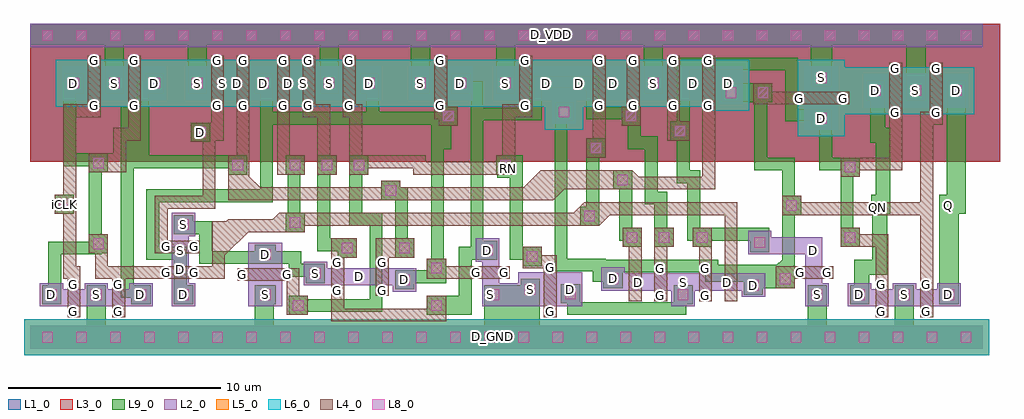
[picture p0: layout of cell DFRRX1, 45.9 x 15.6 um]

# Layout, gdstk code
import gdstk
lib = gdstk.Library(unit=1e-6, precision=1e-09)
def R(c, l, rs):  # rectangles x0, y0, x1, y1
    for r in rs: c.add(gdstk.rectangle(r[:2], r[2:], *l))
def A(c, l, x, y, w, h, nx, ny, dx, dy):  # array of equal rectangles
    R(c, l, [(x+i*dx, y+j*dy, x+i*dx+w, y+j*dy+h) for i in range(nx) for j in range(ny)])
def P(c, l, *ps):  # polygons
    for p in ps: c.add(gdstk.Polygon(p, *l))
L1_0 = (1, 0)
L2_0 = (2, 0)
L3_0 = (3, 0)
L4_0 = (4, 0)
L5_0 = (5, 0)
L6_0 = (6, 0)
L8_0 = (8, 0)
L9_0 = (9, 0)

dfrrx1 = lib.new_cell('DFRRX1')
A(dfrrx1, L1_0, 0, 8.8, 1.6, 6.5, 28, 1, 1.6, 0)
R(dfrrx1, L1_0, [(34.9,8.8,39.5,14.8), (44.8,8.8,45.6,15.3), (37.7,9.85,43.7,14.45), (39.6,9.85,45.6,14.45), (0,10.2,6,14.8), (1.9,10.2,7.9,14.8), (5.8,10.2,11.8,14.8), (7,10.2,13,14.8), (8.9,10.2,14.9,14.8), (10.1,10.2,16.1,14.8), (12,10.2,18,14.8), (16.3,10.2,22.3,14.8), (20.3,10.2,26.3,14.8), (23.75,10.2,29.75,14.8), (25.35,10.2,31.35,14.8), (27.25,10.2,33.25,14.8), (28.9,10.2,34.9,14.8)])
A(dfrrx1, L2_0, 0, 0, 1.6, 1.1, 28, 2, 1.6, 14.2)
R(dfrrx1, L2_0, [(0.45,2,1.55,3.1), (1.55,2,2.55,2.8), (2.55,2,3.65,3.1), (2.55,2,3.65,3.1), (3.65,2,4.65,2.8), (4.65,2,5.75,3.1), (6.65,2,7.75,3.1), (10.25,2,11.85,3.1), (21.25,2,22.35,3.1), (21.25,2,22.05,3.1), (22.35,2,22.95,3.1), (22.95,2,24.05,3.6), (24.05,2,24.85,3.6), (24.85,2,25.95,3.6), (30.15,2,31.25,3.1), (36.45,2,37.55,3.1), (38.45,2,39.55,3.1), (39.55,2,40.55,2.8), (40.55,2,41.65,3.1), (40.55,2,41.65,3.1), (41.65,2,42.65,2.8), (42.65,2,43.75,3.1), (24.85,2.05,25.95,3.15), (33.45,2.45,34.55,3.55), (17.05,2.7,18.15,3.8), (26.85,2.75,27.95,3.85), (27.95,2.75,28.95,3.55), (28.05,2.75,29.15,3.55), (28.95,2.75,30.05,3.55), (29.15,2.75,30.15,3.55), (30.15,2.75,31.25,3.55), (30.15,2.75,31.25,3.55), (31.25,2.75,32.25,3.55), (31.35,2.75,32.45,3.55), (32.25,2.75,33.35,3.55), (32.45,2.75,33.45,3.55), (12.85,3,13.95,4.1), (13.95,3,14.95,3.8), (14.95,3,16.05,3.8), (14.95,3,16.05,3.8), (16.05,3,17.05,3.8), (6.65,3.1,7.45,4.1), (10.25,3.1,11.85,3.9), (21.25,3.1,22.05,4.1), (36.45,3.1,37.25,4.1), (6.65,3.2,7.45,4.3), (10.25,3.9,11.85,5), (6.65,4.1,7.45,5.2), (20.95,4.1,22.05,5.2), (36.45,4.1,37.25,5.2), (6.65,4.3,7.45,5.3), (33.75,4.45,34.85,5.55), (34.85,4.45,37.25,5.25), (6.65,5.3,7.75,6.4), (36.4,10.3,38,11.4), (24.55,10.6,25.65,11.7), (39.2,11.35,40.3,12.95), (40.3,11.35,41.1,12.95), (41.1,11.35,42.2,12.95), (41.1,11.35,42.2,12.95), (42.2,11.35,43,12.95), (43,11.35,44.1,12.95), (36.4,11.4,38,12.2), (32.4,11.5,33.5,12.6), (1.5,11.7,2.6,13.3), (2.6,11.7,3.4,13.3), (3.4,11.7,4.5,13.3), (3.4,11.7,4.5,13.3), (4.5,11.7,5.3,13.3), (5.3,11.7,6.4,13.3), (7.3,11.7,8.4,13.3), (8.4,11.7,9.2,13.3), (8.5,11.7,9.6,13.3), (9.2,11.7,10.3,13.3), (9.6,11.7,10.4,13.3), (10.4,11.7,11.5,13.3), (10.4,11.7,11.5,13.3), (11.5,11.7,12.3,13.3), (11.6,11.7,12.7,13.3), (12.3,11.7,13.4,13.3), (12.7,11.7,13.5,13.3), (13.5,11.7,14.6,13.3), (13.5,11.7,14.6,13.3), (14.6,11.7,15.4,13.3), (15.4,11.7,16.5,13.3), (17.8,11.7,18.9,13.3), (18.9,11.7,19.7,13.3), (19.7,11.7,20.8,13.3), (21.8,11.7,22.9,13.3), (22.9,11.7,23.7,13.3), (23.7,11.7,24.8,13.3), (24.8,11.7,25.4,13.3), (25.25,11.7,26.35,13.3), (26.35,11.7,27.15,13.3), (26.85,11.7,27.95,13.3), (27.15,11.7,28.25,13.3), (27.95,11.7,28.75,13.3), (28.75,11.7,29.85,13.3), (28.75,11.7,29.85,13.3), (29.85,11.7,30.65,13.3), (30.4,11.7,31.5,13.3), (30.65,11.7,31.75,13.3), (31.5,11.7,32.3,13.3), (32.3,11.7,33.4,13.3), (36.4,12.2,38,13.3), (33.4,12.6,33.5,13.3)])
A(dfrrx1, L3_0, 0, 8.8, 1.6, 6.5, 28, 1, 1.6, 0)
R(dfrrx1, L3_0, [(34.9,8.8,39.5,14.8), (44.8,8.8,45.6,15.3), (37.7,9.85,43.7,14.45), (39.6,9.85,45.6,14.45), (0,10.2,6,14.8), (1.9,10.2,7.9,14.8), (5.8,10.2,11.8,14.8), (7,10.2,13,14.8), (8.9,10.2,14.9,14.8), (10.1,10.2,16.1,14.8), (12,10.2,18,14.8), (16.3,10.2,22.3,14.8), (20.3,10.2,26.3,14.8), (23.75,10.2,29.75,14.8), (25.35,10.2,31.35,14.8), (27.25,10.2,33.25,14.8), (28.9,10.2,34.9,14.8)])
A(dfrrx1, L4_0, 12, 8.2, 0.9, 0.9, 3, 1, 1.5, 0)
R(dfrrx1, L4_0, [(18.65,1.3,19.55,1.65), (1.75,1.5,2.35,3.3), (1.75,1.5,2.35,2), (3.85,1.5,4.45,3.3), (3.85,1.5,4.45,2), (24.15,1.5,24.75,2), (24.15,1.5,24.75,4.1), (39.75,1.5,40.35,3.3), (39.75,1.5,40.35,2), (41.85,1.5,42.45,3.3), (41.85,1.5,42.45,2), (12.05,1.6,12.65,3.8), (12.15,1.6,13.05,2.5), (18.65,1.6,19.55,2.5), (28.15,2.25,28.75,4.05), (28.15,2.25,28.75,2.75), (29.35,2.25,29.95,4.05), (29.35,2.25,29.95,2.75), (31.45,2.25,32.05,4.05), (31.45,2.25,32.05,2.75), (32.65,2.25,33.25,4.05), (32.65,2.25,33.25,2.75), (14.15,2.5,14.75,4.3), (14.15,2.5,14.75,3), (16.25,2.5,16.85,4.3), (16.25,2.5,16.85,3), (1.75,2.8,2.35,3.3), (3.85,2.8,4.45,3.3), (39.75,2.8,40.35,3.3), (41.85,2.8,42.45,3.3), (35.05,2.85,35.95,3.75), (9.75,3.2,10.25,3.8), (9.75,3.2,12.35,3.8), (11.85,3.2,12.35,3.8), (6.15,3.3,7.95,3.9), (6.15,3.3,6.65,3.9), (7.45,3.3,7.95,3.9), (18.65,3.3,21.05,3.9), (20.75,3.3,22.55,3.9), (20.75,3.3,21.25,3.9), (22.05,3.3,22.55,3.9), (35.95,3.3,37.75,3.9), (35.95,3.3,36.45,3.9), (37.25,3.3,37.75,3.9), (18.65,3.35,19.55,4.25), (28.15,3.55,28.75,4.05), (29.35,3.55,29.95,4.05), (31.45,3.55,32.05,4.05), (32.65,3.55,33.25,4.05), (24.15,3.6,24.75,4.1), (35.05,3.75,35.95,3.9), (14.15,3.8,14.75,4.3), (16.25,3.8,16.85,4.3), (23.15,3.8,24.75,4.4), (23.15,3.9,24.05,4.8), (28.15,4.05,28.75,4.8), (29.35,4.05,29.95,4.8), (31.45,4.05,32.05,4.8), (14.15,4.2,14.75,5.2), (14.45,4.3,15.35,5.2), (17.15,4.3,18.05,5.2), (2.75,4.5,3.65,5.4), (6.15,4.5,7.95,5.1), (6.15,4.5,6.65,5.1), (7.45,4.5,7.95,5.1), (27.85,4.8,28.75,5.7), (29.35,4.8,30.25,5.7), (31.15,4.8,32.05,5.7), (38.1,4.8,39,5.7), (12,5.5,12.9,6.4), (11.7,5.8,16,6.4), (16,5.8,25.75,6.4), (25.85,5.8,26.75,6.7), (35.35,6.3,36.25,7.2), (35.95,6.3,41.85,6.9), (1.15,6.35,2.05,7.25), (12.7,7,24.6,7.6), (16.5,7,17.4,7.9), (24,7,24.6,8.4), (24.6,7.5,27.4,8.4), (27.4,7.5,28.3,8.4), (9.3,7.7,10.3,8.2), (38.1,8.1,39,9), (9.3,8.2,10.2,9.1), (9.7,8.2,10.3,10.1), (11.6,8.2,12.2,9.6), (21.9,8.2,22.8,9.1), (2.75,8.3,3.65,9.2), (13.5,8.8,14.1,9.8), (15,8.9,15.6,10.45), (26.15,9,27.05,9.9), (11.6,9.3,12.2,11.2), (9.7,9.55,10.3,11.65), (7.55,9.75,8.45,10.65), (4.6,9.8,5.2,11.25), (8.5,9.8,9.1,11.5), (29.95,9.8,30.55,11.2), (30.1,9.8,31,10.7), (31.6,9.8,32.2,11.5), (26.45,9.9,27.05,11.2), (8.45,10.4,8.5,10.65), (19.2,10.5,20.1,11.4), (27.8,10.5,28.7,11.4), (19,10.8,20.1,11.4), (40.4,10.85,41,11.35), (40.4,10.85,41,13.45), (42.3,10.85,42.9,11.35), (42.3,10.85,42.9,13.45), (2.7,11.2,3.3,11.7), (2.7,11.2,3.3,13.8), (4.6,11.2,5.2,11.7), (4.6,11.2,5.2,13.8), (8.5,11.2,9.1,11.7), (8.5,11.2,9.1,13.8), (9.7,11.2,10.3,11.7), (9.7,11.2,10.3,13.8), (11.6,11.2,12.2,11.7), (11.6,11.2,12.2,13.8), (12.8,11.2,13.4,11.7), (12.8,11.2,13.4,13.8), (14.7,11.2,15.3,11.7), (14.7,11.2,15.3,13.8), (19,11.2,19.6,11.7), (19,11.2,19.6,13.8), (23,11.2,23.6,11.7), (23,11.2,23.6,13.8), (26.45,11.2,27.05,11.7), (26.45,11.2,27.05,13.8), (28.05,11.2,28.65,11.7), (28.05,11.2,28.65,13.8), (29.95,11.2,30.55,11.7), (29.95,11.2,30.55,13.8), (31.6,11.2,32.2,11.7), (31.6,11.2,32.2,13.8), (34,11.5,35.9,12.1), (35.9,11.5,36.4,12.1), (35.9,11.5,38.5,12.1), (38,11.5,38.5,12.1), (34,11.6,34.9,12.5), (40.4,12.95,41,13.45), (42.3,12.95,42.9,13.45), (2.7,13.3,3.3,13.8), (4.6,13.3,5.2,13.8), (8.5,13.3,9.1,13.8), (9.7,13.3,10.3,13.8), (11.6,13.3,12.2,13.8), (12.8,13.3,13.4,13.8), (14.7,13.3,15.3,13.8), (19,13.3,19.6,13.8), (23,13.3,23.6,13.8), (26.45,13.3,27.05,13.8), (28.05,13.3,28.65,13.8), (29.95,13.3,30.55,13.8), (31.6,13.3,32.2,13.8)])
P(dfrrx1, L4_0, [(24.6,7),(25.1,7.5),(24.6,7.5)],
  [(25.15,5.8),(26.65,5.8),(26.65,6.9),(26.05,6.9),(26.05,6.4),(25.15,6.4)],
  [(26.05,6.9),(25.55,6.4),(26.05,6.4)],
  [(15.9,8.5),(18,8.5),(18,8.2),(22.8,8.2),(22.8,10.9),(23.6,10.9),(23.6,11.5),(22.2,11.5),(22.2,8.8),(18.6,8.8),(18.6,9.1),(15.9,9.1)],
  [(9.3,6.1),(9.2,6),(9.3,6)],
  [(24,8.4),(23.2,7.6),(24,7.6)],
  [(1.55,3.3),(2.35,3.3),(2.35,3.9),(2.15,3.9),(2.15,10.9),(3.3,10.9),(3.3,11.5),(1.55,11.5)],
  [(12.8,10.9),(13.5,10.9),(13.5,9.4),(14.1,9.4),(14.1,11.5),(12.8,11.5)],
  [(10.25,5.5),(9.15,5.5),(9.15,4.4)],
  [(28.3,7.5),(32.2,7.5),(32.2,10.1),(31.6,10.1),(31.6,8.1),(28.3,8.1)],
  [(26.65,6.3),(32.65,6.3),(32.65,4.05),(33.25,4.05),(33.25,6.9),(26.65,6.9)],
  [(5.85,4.5),(6.45,4.5),(6.45,6.6),(8.7,6.6),(8.7,9.8),(9.1,9.8),(9.1,10.4),(8.1,10.4),(8.1,7.2),(5.85,7.2)],
  [(41.85,3.3),(42.45,3.3),(42.45,10.55),(42.9,10.55),(42.9,11.15),(41.85,11.15)],
  [(39,8.4),(41,8.4),(41,10.85),(40.4,10.85),(40.4,9),(39,9)],
  [(38.1,4.8),(39.75,4.8),(39.75,2.9),(40.35,2.9),(40.35,5.4),(38.1,5.4)],
  [(10.8,7.6),(10.3,8.1),(10.3,7.6)],
  [(3.65,8.3),(4.5,8.3),(4.5,9.8),(5.2,9.8),(5.2,10.4),(3.9,10.4),(3.9,9.2),(3.65,9.2)],
  [(3.05,3.3),(6.15,3.3),(6.15,3.9),(3.65,3.9),(3.65,4.5),(3.05,4.5)],
  [(7.95,3.3),(9.15,3.3),(9.15,5.4),(8.55,5.4),(8.55,3.9),(7.95,3.9)],
  [(8.55,4.7),(9.4,4.7),(9.4,5.4),(9.9,5.4),(9.9,5.5),(12,5.5),(12,6.1),(9.3,6.1),(9.3,6),(8.55,6)],
  [(28.3,8.1),(28.6,8.1),(28.3,8.4)],
  [(26.75,5.8),(27.25,6.3),(26.75,6.3)],
  [(9.3,7),(12.7,7),(12.7,7.6),(10.3,7.6),(10.3,7.8),(9.3,7.8)],
  [(16.25,4),(16.85,4),(16.85,4.3),(17.15,4.3),(17.15,5.2),(16.25,5.2)],
  [(14.15,1.3),(18.65,1.3),(18.65,1.9),(14.75,1.9),(14.75,2.5),(14.15,2.5)],
  [(11.7,6.4),(11.4,6.1),(11.7,6.1)],
  [(14.7,10.9),(15,10.9),(15,10.2),(15.6,10.2),(15.6,11.5),(14.7,11.5)])
A(dfrrx1, L5_0, 1.6, -0.3, 1.6, 1.7, 26, 1, 1.6, 0)
R(dfrrx1, L5_0, [(-0.3,-0.3,1.6,1.4), (43.2,-0.3,45.1,1.4), (36.1,10,38.3,13.6), (24.2,10.3,26,11.4), (38.3,11.05,38.9,13.25), (38.9,11.05,42.5,13.25), (40.8,11.05,44.4,13.25), (32,11.2,33.8,13.6), (1.2,11.4,4.8,13.6), (3.1,11.4,6.7,13.6), (6.7,11.4,7,13.6), (7,11.4,10.6,13.6), (8.2,11.4,11.8,13.6), (10.1,11.4,13.7,13.6), (11.3,11.4,14.9,13.6), (13.2,11.4,16.8,13.6), (16.8,11.4,17.5,13.6), (17.5,11.4,21.1,13.6), (21.05,11.4,21.75,13.6), (21.5,11.4,25.1,13.6), (24.95,11.4,28.55,13.6), (26.55,11.4,30.15,13.6), (28.45,11.4,32.05,13.6), (30.1,11.4,33.7,13.6)])
A(dfrrx1, L6_0, 1.6, -0.3, 1.6, 1.7, 26, 1, 1.6, 0)
R(dfrrx1, L6_0, [(-0.3,-0.3,1.6,1.4), (43.2,-0.3,45.1,1.4), (36.1,10,38.3,13.6), (24.2,10.3,26,11.4), (38.3,11.05,38.9,13.25), (38.9,11.05,42.5,13.25), (40.8,11.05,44.4,13.25), (32,11.2,33.8,13.6), (1.2,11.4,4.8,13.6), (3.1,11.4,6.7,13.6), (6.7,11.4,7,13.6), (7,11.4,10.6,13.6), (8.2,11.4,11.8,13.6), (10.1,11.4,13.7,13.6), (11.3,11.4,14.9,13.6), (13.2,11.4,16.8,13.6), (16.8,11.4,17.5,13.6), (17.5,11.4,21.1,13.6), (21.05,11.4,21.75,13.6), (21.5,11.4,25.1,13.6), (24.95,11.4,28.55,13.6), (26.55,11.4,30.15,13.6), (28.45,11.4,32.05,13.6), (30.1,11.4,33.7,13.6)])
A(dfrrx1, L8_0, 0.55, 0.3, 0.5, 0.5, 28, 2, 1.6, 14.2)
A(dfrrx1, L8_0, 12.2, 8.4, 0.5, 0.5, 3, 1, 1.5, 0)
R(dfrrx1, L8_0, [(12.35,1.8,12.85,2.3), (18.85,1.8,19.35,2.3), (0.75,2.3,1.25,2.8), (2.85,2.3,3.35,2.8), (2.85,2.3,3.35,2.8), (4.95,2.3,5.45,2.8), (6.95,2.3,7.45,2.8), (10.8,2.3,11.3,2.8), (21.55,2.3,22.05,2.8), (30.45,2.3,30.95,2.8), (36.75,2.3,37.25,2.8), (38.75,2.3,39.25,2.8), (40.85,2.3,41.35,2.8), (40.85,2.3,41.35,2.8), (42.95,2.3,43.45,2.8), (25.15,2.35,25.65,2.85), (23.25,2.55,23.75,3.05), (33.75,2.75,34.25,3.25), (17.35,3,17.85,3.5), (27.15,3.05,27.65,3.55), (35.25,3.05,35.75,3.55), (13.15,3.3,13.65,3.8), (18.85,3.55,19.35,4.05), (23.35,4.1,23.85,4.6), (10.8,4.2,11.3,4.7), (21.25,4.4,21.75,4.9), (14.65,4.5,15.15,5), (17.35,4.5,17.85,5), (2.95,4.7,3.45,5.2), (34.05,4.75,34.55,5.25), (28.05,5,28.55,5.5), (29.55,5,30.05,5.5), (31.35,5,31.85,5.5), (38.3,5,38.8,5.5), (6.95,5.6,7.45,6.1), (12.2,5.7,12.7,6.2), (26.05,6,26.55,6.5), (35.55,6.5,36.05,7), (1.35,6.55,1.85,7.05), (16.7,7.2,17.2,7.7), (27.6,7.7,28.1,8.2), (38.3,8.3,38.8,8.8), (9.5,8.4,10,8.9), (22.1,8.4,22.6,8.9), (2.95,8.5,3.45,9), (26.35,9.2,26.85,9.7), (7.75,9.95,8.25,10.45), (30.3,10,30.8,10.5), (36.95,10.6,37.45,11.1), (19.4,10.7,19.9,11.2), (28,10.7,28.5,11.2), (24.85,10.9,25.35,11.4), (32.7,11.8,33.2,12.3), (34.2,11.8,34.7,12.3), (39.5,11.9,40,12.4), (41.4,11.9,41.9,12.4), (41.4,11.9,41.9,12.4), (43.3,11.9,43.8,12.4), (1.8,12.25,2.3,12.75), (3.7,12.25,4.2,12.75), (3.7,12.25,4.2,12.75), (5.6,12.25,6.1,12.75), (7.6,12.25,8.1,12.75), (10.7,12.25,11.2,12.75), (10.7,12.25,11.2,12.75), (13.8,12.25,14.3,12.75), (13.8,12.25,14.3,12.75), (15.7,12.25,16.2,12.75), (18.1,12.25,18.6,12.75), (20,12.25,20.5,12.75), (22.1,12.25,22.6,12.75), (29.05,12.25,29.55,12.75), (29.05,12.25,29.55,12.75), (36.95,12.5,37.45,13)])
A(dfrrx1, L9_0, 0, 0, 1.6, 1, 28, 2, 1.6, 14.3)
A(dfrrx1, L9_0, 12, 8.2, 0.9, 0.9, 3, 1, 1.5, 0)
R(dfrrx1, L9_0, [(0,0,44.8,1), (2.65,0.95,3.55,2.1), (40.65,0.95,41.55,2.1), (21.35,1,23.95,3), (36.55,1,37.45,2.1), (12.15,1.6,13.05,2.5), (18.65,1.6,19.55,2.5), (19.55,1.6,20.15,2.5), (0.55,2.1,1.45,3), (2.65,2.1,3.55,3), (2.65,2.1,3.55,3), (4.75,2.1,5.65,3), (6.75,2.1,7.65,3), (10.55,2.1,11.55,3), (21.35,2.1,22.25,3), (30.25,2.1,31.15,3), (36.55,2.1,37.45,3), (38.55,2.1,39.45,3), (40.65,2.1,41.55,3), (40.65,2.1,41.55,3), (42.75,2.1,43.65,3), (24.95,2.15,25.85,3.05), (23.05,2.3,23.95,3.3), (33.55,2.55,34.45,3.45), (17.15,2.8,18.05,3.7), (26.95,2.85,27.85,3.75), (34.45,2.85,35.05,3.15), (35.05,2.85,35.95,3.75), (12.95,3.1,13.85,4), (18.05,3.1,19.55,3.7), (33.85,3.15,35.65,3.75), (18.65,3.35,19.55,4.25), (27.05,3.75,27.25,4.2), (23.15,3.9,24.05,4.8), (10.55,4,11.55,4.9), (21.05,4.2,21.95,5.1), (14.45,4.3,15.35,5.2), (17.15,4.3,18.05,5.2), (2.75,4.5,3.65,5.4), (33.85,4.55,34.75,5.45), (2.75,4.8,3.35,8.9), (27.85,4.8,28.75,5.7), (29.35,4.8,30.25,5.7), (31.15,4.8,32.05,5.7), (38.1,4.8,39,5.7), (30.9,5.1,34.75,5.7), (38.1,5.1,38.7,8.7), (6.75,5.4,7.65,6.3), (12,5.5,12.9,6.4), (12.1,5.7,12.7,9.1), (25.85,5.8,26.75,6.7), (26.15,6.1,26.75,9.6), (35.35,6.3,36.25,7.2), (1.15,6.35,2.05,7.25), (1.15,6.35,2.05,7.25), (39.55,6.35,40.45,7.25), (42.75,6.35,43.65,7.25), (16.5,7,17.4,7.9), (27.4,7.5,28.3,8.4), (21.95,8.05,22.85,8.95), (38.1,8.1,39,9), (9.3,8.2,10.2,9.1), (21.9,8.2,22.8,9.1), (2.75,8.3,3.65,9.2), (4.25,8.5,9.9,9.1), (22.8,8.8,23.15,9.1), (26.15,9,27.05,9.9), (4.85,9.1,5.6,10.2), (7.55,9.75,8.45,10.65), (7.55,9.75,8.45,10.65), (30.1,9.8,31,10.7), (18.85,10,19.8,10.55), (36.7,10.4,37.7,11.3), (19.2,10.5,20.1,11.4), (27.8,10.5,28.7,11.4), (10.8,10.55,16.4,11.15), (15.8,10.55,16.4,12.6), (24.65,10.7,25.55,11.6), (35.5,10.7,36.7,11.3), (32.5,11.6,33.4,12.5), (33.4,11.6,34,12.5), (34,11.6,34.9,12.5), (39.3,11.65,40.2,12.65), (41.2,11.65,42.1,12.65), (41.2,11.65,42.1,12.65), (43.1,11.65,44,12.65), (1.6,12,2.5,13), (3.5,12,4.4,13), (3.5,12,4.4,13), (5.4,12,6.3,13), (7.4,12,8.3,13), (10.5,12,11.4,13), (10.5,12,11.4,13), (13.6,12,14.5,13), (13.6,12,14.5,13), (15.5,12,16.4,13), (17.9,12,18.8,13), (19.8,12,20.7,13), (21.9,12,22.8,13), (28.85,12,29.75,13), (28.85,12,29.75,13), (28.85,12.1,29.75,15.2), (36.7,12.3,37.7,13.2), (41.2,12.65,42.1,14.3), (3.5,13,4.4,14.35), (7.4,13,8.3,14.6), (13.6,13,14.5,14.65), (17.9,13,18.8,14.65), (36.7,13.2,37.7,14.3), (0,14.3,44.8,15.3)])
P(dfrrx1, L9_0, [(27.25,3.15),(27.85,3.15),(27.85,3.6),(31.75,3.6),(31.75,3.15),(34.15,3.15),(34.15,3.75),(32.35,3.75),(32.35,4.2),(27.25,4.2)],
  [(12.45,1.75),(16.55,1.75),(16.55,6.4),(15.6,6.4),(15.6,8.8),(15,8.8),(15,5.8),(15.95,5.8),(15.95,2.35),(12.45,2.35)],
  [(18.85,3.65),(19.45,3.65),(19.45,9.4),(19.8,9.4),(19.8,10),(18.85,10)],
  [(28.1,9.4),(28.9,9.4),(28.9,6.8),(29.35,6.8),(29.35,5.1),(29.95,5.1),(29.95,7.4),(29.5,7.4),(29.5,10),(28.7,10),(28.7,11.1),(28.1,11.1)],
  [(20.1,12),(20.7,12),(20.7,4.8),(21.3,4.8),(21.3,12.6),(20.1,12.6)],
  [(20.7,10.75),(24.05,10.75),(24.05,12.25),(26.1,12.25),(26.1,12.15),(26.15,12.15),(26.15,10.8),(28.4,10.8),(28.4,11.4),(26.75,11.4),(26.75,12.75),(26.7,12.75),(26.7,12.85),(23.45,12.85),(23.45,11.35),(20.7,11.35)],
  [(27.7,5.1),(28.45,5.1),(28.45,5.7),(28.3,5.7),(28.3,8.1),(27.7,8.1)],
  [(31.9,13.1),(35.5,13.1),(35.5,11.1),(36.1,11.1),(36.1,13.7),(31.9,13.7)],
  [(30.4,7.8),(30.9,7.8),(30.9,5.1),(31.75,5.1),(31.75,5.7),(31.5,5.7),(31.5,8.4),(31,8.4),(31,10.4),(30.4,10.4)],
  [(35.35,3.75),(35.35,4.2),(35.1,3.95),(32.35,3.95),(32.35,3.75)],
  [(42.75,2.1),(43.65,2.1),(43.65,6.35),(44,6.35),(44,12.55),(43.1,12.55),(43.1,7.25),(42.75,7.25)],
  [(30.4,10.7),(31,10.7),(31,13.1),(31.9,13.1),(31.9,13.7),(30.4,13.7)],
  [(34.05,8.4),(35.35,8.4),(35.35,3.75),(35.95,3.75),(35.95,9),(34.65,9),(34.65,12.2),(34.05,12.2)],
  [(10.1,0.1),(11.45,0.1),(11.45,3),(10.55,3),(10.55,1),(10.1,1)],
  [(25.25,1.6),(30.85,1.6),(30.85,2.85),(30.25,2.85),(30.25,2.2),(25.85,2.2),(25.85,2.9),(25.25,2.9)],
  [(7.05,5.4),(7.95,5.4),(7.95,4),(12.15,4),(12.15,3.4),(13.55,3.4),(13.55,4),(12.75,4),(12.75,4.6),(8.55,4.6),(8.55,6),(7.05,6)],
  [(5,10.8),(5.6,10.8),(5.6,12),(6,12),(6,12.6),(5,12.6)],
  [(4.25,10.2),(5.6,10.2),(5.6,11.4),(5,11.4),(5,10.8),(4.25,10.8)],
  [(4.25,2.4),(5.35,2.4),(5.35,3),(4.85,3),(4.85,10.8),(5.6,10.8),(5.6,11.4),(4.25,11.4)],
  [(38.75,2.3),(39.45,2.3),(39.45,3.5),(40.3,3.5),(40.3,7.05),(39.6,7.05),(39.6,4.2),(38.75,4.2)],
  [(0.85,2.4),(1.45,2.4),(1.45,4.45),(3.35,4.45),(3.35,5.1),(2.75,5.1),(2.75,5.05),(0.85,5.05)],
  [(24.65,3.65),(26.45,3.65),(26.45,3.15),(27.55,3.15),(27.55,3.75),(27.05,3.75),(27.05,4.25),(25.25,4.25),(25.25,11.3),(24.65,11.3)],
  [(13.5,4.6),(15.05,4.6),(15.05,5.2),(14.1,5.2),(14.1,8.8),(13.5,8.8)],
  [(21.9,12.1),(22.8,12.1),(22.8,14.3),(23.3,14.3),(23.3,15.2),(21.9,15.2)],
  [(1.55,8.6),(3.35,8.6),(3.35,9.2),(2.15,9.2),(2.15,12),(2.2,12),(2.2,12.6),(1.55,12.6)],
  [(16.8,7),(17.15,7),(17.15,4.6),(17.75,4.6),(17.75,7.6),(16.8,7.6)],
  [(39.5,9.7),(39.75,9.7),(39.75,6.55),(40.45,6.55),(40.45,10.4),(40.2,10.4),(40.2,12.35),(39.5,12.35)],
  [(20.15,1.6),(20.75,1.6),(20.75,4.2),(21.05,4.2),(21.05,4.8),(20.15,4.8)],
  [(15.8,10.55),(19.15,10.55),(19.15,10.5),(19.75,10.5),(19.75,11.15),(15.8,11.15)],
  [(22.2,8.2),(22.55,8.2),(22.55,4.2),(23.75,4.2),(23.75,4.8),(23.15,4.8),(23.15,8.8),(22.2,8.8)],
  [(5.45,4.2),(6.75,4.2),(6.75,2.4),(7.35,2.4),(7.35,4.8),(6.05,4.8),(6.05,6.9),(11.4,6.9),(11.4,12.6),(10.8,12.6),(10.8,7.5),(5.45,7.5)],
  [(37.1,8.4),(38.7,8.4),(38.7,9),(37.7,9),(37.7,11),(37.1,11)])
dfrrx1.add(gdstk.Label('D', (36.851,4.649), layer=2, texttype=0))
dfrrx1.add(gdstk.Label('G', (36.202,3.6), layer=4, texttype=0))
dfrrx1.add(gdstk.Label('G', (37.502,3.6), layer=4, texttype=0))
dfrrx1.add(gdstk.Label('S', (37.001,2.549), layer=9, texttype=0))
dfrrx1.add(gdstk.Label('D', (32.799,3.149), layer=2, texttype=0))
dfrrx1.add(gdstk.Label('G', (31.75,3.798), layer=4, texttype=0))
dfrrx1.add(gdstk.Label('G', (31.75,2.498), layer=4, texttype=0))
dfrrx1.add(gdstk.Label('S', (30.699,3.149), layer=2, texttype=0))
dfrrx1.add(gdstk.Label('D', (5.849,12.501), layer=9, texttype=0))
dfrrx1.add(gdstk.Label('S', (3.949,12.501), layer=9, texttype=0))
dfrrx1.add(gdstk.Label('G', (4.9,13.552), layer=4, texttype=0))
dfrrx1.add(gdstk.Label('G', (4.9,11.452), layer=4, texttype=0))
dfrrx1.add(gdstk.Label('D', (20.249,12.501), layer=9, texttype=0))
dfrrx1.add(gdstk.Label('S', (18.349,12.501), layer=9, texttype=0))
dfrrx1.add(gdstk.Label('G', (19.3,13.552), layer=4, texttype=0))
dfrrx1.add(gdstk.Label('G', (19.3,11.452), layer=4, texttype=0))
dfrrx1.add(gdstk.Label('D', (27.401,12.501), layer=2, texttype=0))
dfrrx1.add(gdstk.Label('S', (29.301,12.501), layer=9, texttype=0))
dfrrx1.add(gdstk.Label('G', (28.35,13.552), layer=4, texttype=0))
dfrrx1.add(gdstk.Label('G', (28.35,11.452), layer=4, texttype=0))
dfrrx1.add(gdstk.Label('D', (9.749,12.501), layer=2, texttype=0))
dfrrx1.add(gdstk.Label('S', (7.849,12.501), layer=9, texttype=0))
dfrrx1.add(gdstk.Label('G', (8.8,13.552), layer=4, texttype=0))
dfrrx1.add(gdstk.Label('G', (8.8,11.452), layer=4, texttype=0))
dfrrx1.add(gdstk.Label('D', (2.051,12.501), layer=9, texttype=0))
dfrrx1.add(gdstk.Label('S', (3.951,12.501), layer=9, texttype=0))
dfrrx1.add(gdstk.Label('G', (3,13.552), layer=4, texttype=0))
dfrrx1.add(gdstk.Label('G', (3,11.452), layer=4, texttype=0))
dfrrx1.add(gdstk.Label('D', (24.249,12.501), layer=2, texttype=0))
dfrrx1.add(gdstk.Label('S', (22.349,12.501), layer=9, texttype=0))
dfrrx1.add(gdstk.Label('G', (23.3,13.552), layer=4, texttype=0))
dfrrx1.add(gdstk.Label('G', (23.3,11.452), layer=4, texttype=0))
dfrrx1.add(gdstk.Label('D', (12.151,12.501), layer=2, texttype=0))
dfrrx1.add(gdstk.Label('S', (14.051,12.501), layer=9, texttype=0))
dfrrx1.add(gdstk.Label('G', (13.1,13.552), layer=4, texttype=0))
dfrrx1.add(gdstk.Label('G', (13.1,11.452), layer=4, texttype=0))
dfrrx1.add(gdstk.Label('D', (10.951,12.501), layer=9, texttype=0))
dfrrx1.add(gdstk.Label('S', (12.851,12.501), layer=2, texttype=0))
dfrrx1.add(gdstk.Label('G', (11.9,13.552), layer=4, texttype=0))
dfrrx1.add(gdstk.Label('G', (11.9,11.452), layer=4, texttype=0))
dfrrx1.add(gdstk.Label('D', (15.949,12.501), layer=9, texttype=0))
dfrrx1.add(gdstk.Label('S', (14.049,12.501), layer=9, texttype=0))
dfrrx1.add(gdstk.Label('G', (15,13.552), layer=4, texttype=0))
dfrrx1.add(gdstk.Label('G', (15,11.452), layer=4, texttype=0))
dfrrx1.add(gdstk.Label('D', (25.801,12.501), layer=2, texttype=0))
dfrrx1.add(gdstk.Label('S', (27.701,12.501), layer=2, texttype=0))
dfrrx1.add(gdstk.Label('G', (26.75,13.552), layer=4, texttype=0))
dfrrx1.add(gdstk.Label('G', (26.75,11.452), layer=4, texttype=0))
dfrrx1.add(gdstk.Label('D', (37.199,10.851), layer=9, texttype=0))
dfrrx1.add(gdstk.Label('S', (37.199,12.751), layer=9, texttype=0))
dfrrx1.add(gdstk.Label('G', (36.148,11.8), layer=4, texttype=0))
dfrrx1.add(gdstk.Label('G', (38.248,11.8), layer=4, texttype=0))
dfrrx1.add(gdstk.Label('D', (31.199,12.501), layer=2, texttype=0))
dfrrx1.add(gdstk.Label('S', (29.299,12.501), layer=9, texttype=0))
dfrrx1.add(gdstk.Label('G', (30.25,13.552), layer=4, texttype=0))
dfrrx1.add(gdstk.Label('G', (30.25,11.452), layer=4, texttype=0))
dfrrx1.add(gdstk.Label('D', (32.849,12.501), layer=2, texttype=0))
dfrrx1.add(gdstk.Label('S', (30.949,12.501), layer=2, texttype=0))
dfrrx1.add(gdstk.Label('G', (31.9,13.552), layer=4, texttype=0))
dfrrx1.add(gdstk.Label('G', (31.9,11.452), layer=4, texttype=0))
dfrrx1.add(gdstk.Label('D', (25.399,2.801), layer=2, texttype=0))
dfrrx1.add(gdstk.Label('G', (24.45,1.752), layer=4, texttype=0))
dfrrx1.add(gdstk.Label('G', (24.45,3.852), layer=4, texttype=0))
dfrrx1.add(gdstk.Label('S', (23.499,2.801), layer=9, texttype=0))
dfrrx1.add(gdstk.Label('D', (15.499,3.401), layer=2, texttype=0))
dfrrx1.add(gdstk.Label('G', (14.45,2.752), layer=4, texttype=0))
dfrrx1.add(gdstk.Label('G', (14.45,4.052), layer=4, texttype=0))
dfrrx1.add(gdstk.Label('S', (13.399,3.551), layer=9, texttype=0))
dfrrx1.add(gdstk.Label('D', (28.601,3.149), layer=2, texttype=0))
dfrrx1.add(gdstk.Label('G', (29.65,3.798), layer=4, texttype=0))
dfrrx1.add(gdstk.Label('G', (29.65,2.498), layer=4, texttype=0))
dfrrx1.add(gdstk.Label('S', (30.701,3.149), layer=2, texttype=0))
dfrrx1.add(gdstk.Label('G', (42.6,11.102), layer=4, texttype=0))
dfrrx1.add(gdstk.Label('G', (42.6,13.202), layer=4, texttype=0))
dfrrx1.add(gdstk.Label('S', (41.649,12.151), layer=9, texttype=0))
dfrrx1.add(gdstk.Label('D', (43.549,12.151), layer=9, texttype=0))
dfrrx1.add(gdstk.Label('D', (7.051,3.751), layer=2, texttype=0))
dfrrx1.add(gdstk.Label('G', (6.402,4.8), layer=4, texttype=0))
dfrrx1.add(gdstk.Label('G', (7.702,4.8), layer=4, texttype=0))
dfrrx1.add(gdstk.Label('S', (7.201,5.851), layer=9, texttype=0))
dfrrx1.add(gdstk.Label('D', (10.949,12.501), layer=9, texttype=0))
dfrrx1.add(gdstk.Label('S', (9.049,12.501), layer=2, texttype=0))
dfrrx1.add(gdstk.Label('G', (10,13.552), layer=4, texttype=0))
dfrrx1.add(gdstk.Label('G', (10,11.452), layer=4, texttype=0))
dfrrx1.add(gdstk.Label('G', (40.7,11.102), layer=4, texttype=0))
dfrrx1.add(gdstk.Label('G', (40.7,13.202), layer=4, texttype=0))
dfrrx1.add(gdstk.Label('S', (41.651,12.151), layer=9, texttype=0))
dfrrx1.add(gdstk.Label('D', (39.751,12.151), layer=9, texttype=0))
dfrrx1.add(gdstk.Label('G', (4.15,1.752), layer=4, texttype=0))
dfrrx1.add(gdstk.Label('G', (4.15,3.052), layer=4, texttype=0))
dfrrx1.add(gdstk.Label('S', (3.099,2.551), layer=9, texttype=0))
dfrrx1.add(gdstk.Label('D', (5.199,2.551), layer=9, texttype=0))
dfrrx1.add(gdstk.Label('G', (12.098,3.5), layer=4, texttype=0))
dfrrx1.add(gdstk.Label('G', (9.998,3.5), layer=4, texttype=0))
dfrrx1.add(gdstk.Label('S', (11.049,2.549), layer=9, texttype=0))
dfrrx1.add(gdstk.Label('D', (11.049,4.449), layer=9, texttype=0))
dfrrx1.add(gdstk.Label('G', (22.298,3.6), layer=4, texttype=0))
dfrrx1.add(gdstk.Label('G', (20.998,3.6), layer=4, texttype=0))
dfrrx1.add(gdstk.Label('S', (21.649,2.549), layer=2, texttype=0))
dfrrx1.add(gdstk.Label('D', (21.499,4.649), layer=9, texttype=0))
dfrrx1.add(gdstk.Label('G', (6.402,3.6), layer=4, texttype=0))
dfrrx1.add(gdstk.Label('G', (7.702,3.6), layer=4, texttype=0))
dfrrx1.add(gdstk.Label('S', (7.051,4.651), layer=2, texttype=0))
dfrrx1.add(gdstk.Label('D', (7.201,2.551), layer=9, texttype=0))
dfrrx1.add(gdstk.Label('G', (32.95,3.798), layer=4, texttype=0))
dfrrx1.add(gdstk.Label('G', (32.95,2.498), layer=4, texttype=0))
dfrrx1.add(gdstk.Label('S', (31.899,3.149), layer=2, texttype=0))
dfrrx1.add(gdstk.Label('D', (33.999,2.999), layer=9, texttype=0))
dfrrx1.add(gdstk.Label('G', (40.05,1.752), layer=4, texttype=0))
dfrrx1.add(gdstk.Label('G', (40.05,3.052), layer=4, texttype=0))
dfrrx1.add(gdstk.Label('S', (41.101,2.551), layer=9, texttype=0))
dfrrx1.add(gdstk.Label('D', (39.001,2.551), layer=9, texttype=0))
dfrrx1.add(gdstk.Label('G', (28.45,2.502), layer=4, texttype=0))
dfrrx1.add(gdstk.Label('G', (28.45,3.802), layer=4, texttype=0))
dfrrx1.add(gdstk.Label('S', (29.501,3.151), layer=2, texttype=0))
dfrrx1.add(gdstk.Label('D', (27.401,3.301), layer=9, texttype=0))
dfrrx1.add(gdstk.Label('G', (16.55,4.048), layer=4, texttype=0))
dfrrx1.add(gdstk.Label('G', (16.55,2.748), layer=4, texttype=0))
dfrrx1.add(gdstk.Label('S', (15.499,3.399), layer=2, texttype=0))
dfrrx1.add(gdstk.Label('D', (17.599,3.249), layer=9, texttype=0))
dfrrx1.add(gdstk.Label('G', (42.15,1.752), layer=4, texttype=0))
dfrrx1.add(gdstk.Label('G', (42.15,3.052), layer=4, texttype=0))
dfrrx1.add(gdstk.Label('S', (41.099,2.551), layer=9, texttype=0))
dfrrx1.add(gdstk.Label('D', (43.199,2.551), layer=9, texttype=0))
dfrrx1.add(gdstk.Label('G', (2.05,1.752), layer=4, texttype=0))
dfrrx1.add(gdstk.Label('G', (2.05,3.052), layer=4, texttype=0))
dfrrx1.add(gdstk.Label('S', (3.101,2.551), layer=9, texttype=0))
dfrrx1.add(gdstk.Label('D', (1.001,2.551), layer=9, texttype=0))
dfrrx1.add(gdstk.Label('D_VDD', (24.5,14.8), layer=50, texttype=0))
dfrrx1.add(gdstk.Label('D', (8,10.2), layer=50, texttype=0))
dfrrx1.add(gdstk.Label('iCLK', (1.6,6.8), layer=50, texttype=0))
dfrrx1.add(gdstk.Label('RN', (22.5,8.5), layer=50, texttype=0))
dfrrx1.add(gdstk.Label('QN', (39.85,6.65), layer=50, texttype=0))
dfrrx1.add(gdstk.Label('D_GND', (21.75,0.6), layer=50, texttype=0))
dfrrx1.add(gdstk.Label('Q', (43.2,6.75), layer=50, texttype=0))

lib.write_gds('DFRRX1.gds')
